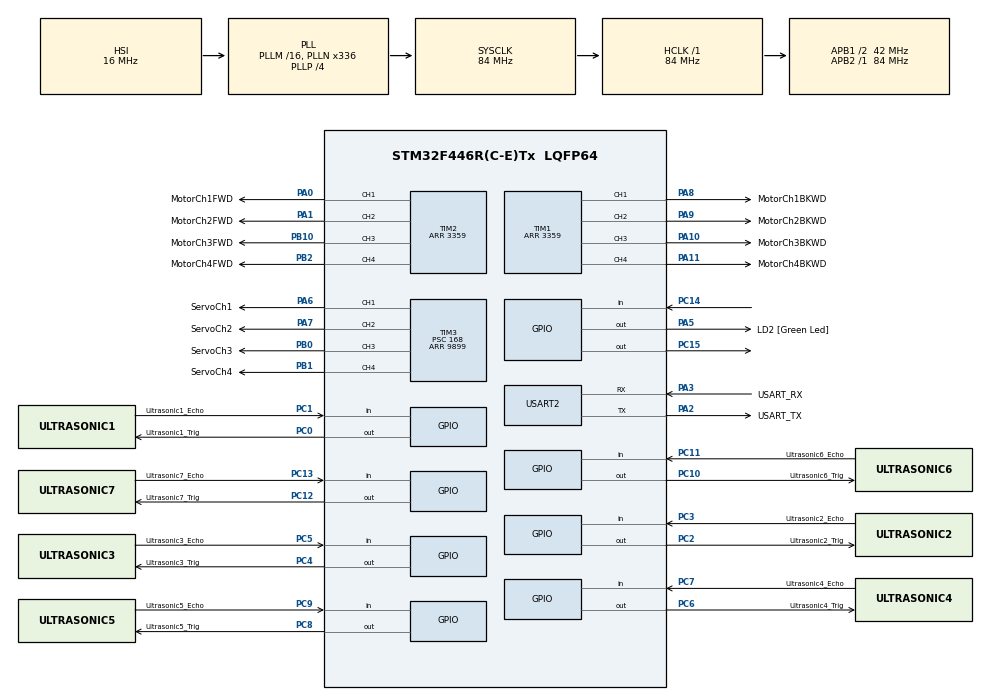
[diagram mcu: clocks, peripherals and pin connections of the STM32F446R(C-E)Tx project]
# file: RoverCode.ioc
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FREERTOS.Tasks01=defaultTask,24,128,StartDefaultTask,Default,NULL,Dynamic,NULL,NULL;ServoDrivers,8,128,StartServoDrivers,Default,NULL,Dynamic,NULL,NULL;Pathfinding,8,128,StartPathfinding,Default,NULL,Dynamic,NULL,NULL
FREERTOS.configGENERATE_RUN_TIME_STATS=1
FREERTOS.configRECORD_STACK_HIGH_ADDRESS=1
FREERTOS.configUSE_NEWLIB_REENTRANT=1
FREERTOS.configUSE_STATS_FORMATTING_FUNCTIONS=1
Mcu.Family=STM32F4
Mcu.Name=STM32F446R(C-E)Tx
Mcu.Package=LQFP64
NVIC.PriorityGroup=NVIC_PRIORITYGROUP_4
NVIC.TIM6_DAC_IRQn=true\:15\:0\:false\:false\:true\:false\:false\:true\:true
NVIC.TimeBase=TIM6_DAC_IRQn
NVIC.TimeBaseIP=TIM6
PA0-WKUP.GPIO_Label=MotorCh1FWD
PA0-WKUP.Signal=S_TIM2_CH1_ETR
PA1.GPIO_Label=MotorCh2FWD
PA1.Signal=S_TIM2_CH2
PA10.GPIO_Label=MotorCh3BKWD
PA10.Signal=S_TIM1_CH3
PA11.GPIO_Label=MotorCh4BKWD
PA11.GPIO_PuPd=GPIO_NOPULL
PA11.Signal=S_TIM1_CH4
PA13.GPIO_Label=TMS
PA13.Mode=Serial_Wire
PA13.Signal=SYS_JTMS-SWDIO
PA14.GPIO_Label=TCK
PA14.Mode=Serial_Wire
PA14.Signal=SYS_JTCK-SWCLK
PA2.GPIO_Label=USART_TX
PA2.Mode=Asynchronous
PA2.Signal=USART2_TX
PA3.GPIO_Label=USART_RX
PA3.Mode=Asynchronous
PA3.Signal=USART2_RX
PA5.GPIO_Label=LD2 [Green Led]
PA5.Signal=GPIO_Output
PA6.GPIO_Label=ServoCh1
PA6.Signal=S_TIM3_CH1
PA7.GPIO_Label=ServoCh2
PA7.Signal=S_TIM3_CH2
PA8.GPIO_Label=MotorCh1BKWD
PA8.Signal=S_TIM1_CH1
PA9.GPIO_Label=MotorCh2BKWD
PA9.Signal=S_TIM1_CH2
PB0.GPIO_Label=ServoCh3
PB0.Signal=S_TIM3_CH3
PB1.GPIO_Label=ServoCh4
PB1.Signal=S_TIM3_CH4
PB10.GPIO_Label=MotorCh3FWD
PB10.Signal=S_TIM2_CH3
PB2.GPIO_Label=MotorCh4FWD
PB2.Signal=S_TIM2_CH4
PB3.GPIO_Label=SWO
PB3.Signal=SYS_JTDO-SWO
PC0.GPIO_Label=Ultrasonic1_Trig
PC0.Signal=GPIO_Output
PC1.GPIO_Label=Ultrasonic1_Echo
PC1.Signal=GPIO_Input
PC10.GPIO_Label=Ultrasonic6_Trig
PC10.Signal=GPIO_Output
PC11.GPIO_Label=Ultrasonic6_Echo
PC11.Signal=GPIO_Input
PC12.GPIO_Label=Ultrasonic7_Trig
PC12.Signal=GPIO_Output
PC13.GPIO_Label=Ultrasonic7_Echo
PC13.Signal=GPIO_Input
PC14-OSC32_IN.Signal=GPIO_Input
PC15-OSC32_OUT.Signal=GPIO_Output
PC2.GPIO_Label=Ultrasonic2_Trig
PC2.Signal=GPIO_Output
PC3.GPIO_Label=Ultrasonic2_Echo
PC3.Signal=GPIO_Input
PC4.GPIO_Label=Ultrasonic3_Trig
PC4.Signal=GPIO_Output
PC5.GPIO_Label=Ultrasonic3_Echo
PC5.Signal=GPIO_Input
PC6.GPIO_Label=Ultrasonic4_Trig
PC6.Signal=GPIO_Output
PC7.GPIO_Label=Ultrasonic4_Echo
PC7.Signal=GPIO_Input
PC8.GPIO_Label=Ultrasonic5_Trig
PC8.Signal=GPIO_Output
PC9.GPIO_Label=Ultrasonic5_Echo
PC9.Signal=GPIO_Input
PH0-OSC_IN.Mode=HSE-External-Oscillator
PH0-OSC_IN.Signal=RCC_OSC_IN
PH1-OSC_OUT.Mode=HSE-External-Oscillator
PH1-OSC_OUT.Signal=RCC_OSC_OUT
ProjectManager.HeapSize=0x200
ProjectManager.StackSize=0x400
ProjectManager.TargetToolchain=STM32CubeIDE
RCC.48MHZClocksFreq_Value=84000000
RCC.AHBFreq_Value=84000000
RCC.APB1CLKDivider=RCC_HCLK_DIV2
RCC.APB1Freq_Value=42000000
RCC.APB1TimFreq_Value=84000000
RCC.APB2Freq_Value=84000000
RCC.APB2TimFreq_Value=84000000
RCC.CortexFreq_Value=84000000
RCC.FLatency-AdvancedSettings=FLASH_LATENCY_2
RCC.HCLKFreq_Value=84000000
RCC.HSE_VALUE=8000000
RCC.HSI_VALUE=16000000
RCC.PLLN=336
RCC.PLLP=RCC_PLLP_DIV4
RCC.SYSCLKFreq_VALUE=84000000
RCC.SYSCLKSource=RCC_SYSCLKSOURCE_PLLCLK
RCC.USBFreq_Value=168000000
RCC.VCOOutputFreq_Value=336000000
SH.S_TIM1_CH1.0=TIM1_CH1,PWM Generation1 CH1
SH.S_TIM1_CH2.0=TIM1_CH2,PWM Generation2 CH2
SH.S_TIM1_CH3.0=TIM1_CH3,PWM Generation3 CH3
SH.S_TIM1_CH4.0=TIM1_CH4,PWM Generation4 CH4
SH.S_TIM2_CH1_ETR.0=TIM2_CH1,PWM Generation1 CH1
SH.S_TIM2_CH2.0=TIM2_CH2,PWM Generation2 CH2
SH.S_TIM2_CH3.0=TIM2_CH3,PWM Generation3 CH3
SH.S_TIM2_CH4.0=TIM2_CH4,PWM Generation4 CH4
SH.S_TIM3_CH1.0=TIM3_CH1,PWM Generation1 CH1
SH.S_TIM3_CH2.0=TIM3_CH2,PWM Generation2 CH2
SH.S_TIM3_CH3.0=TIM3_CH3,PWM Generation3 CH3
SH.S_TIM3_CH4.0=TIM3_CH4,PWM Generation4 CH4
TIM1.Channel-PWM\ Generation1\ CH1=TIM_CHANNEL_1
TIM1.Channel-PWM\ Generation2\ CH2=TIM_CHANNEL_2
TIM1.Channel-PWM\ Generation3\ CH3=TIM_CHANNEL_3
TIM1.Channel-PWM\ Generation4\ CH4=TIM_CHANNEL_4
TIM1.Period=3359
TIM2.Channel-PWM\ Generation1\ CH1=TIM_CHANNEL_1
TIM2.Channel-PWM\ Generation2\ CH2=TIM_CHANNEL_2
TIM2.Channel-PWM\ Generation3\ CH3=TIM_CHANNEL_3
TIM2.Channel-PWM\ Generation4\ CH4=TIM_CHANNEL_4
TIM2.Period=3359
TIM2.Pulse-PWM\ Generation1\ CH1=0
TIM2.Pulse-PWM\ Generation2\ CH2=0
TIM2.Pulse-PWM\ Generation3\ CH3=0
TIM2.Pulse-PWM\ Generation4\ CH4=0
TIM3.AutoReloadPreload=TIM_AUTORELOAD_PRELOAD_ENABLE
TIM3.Channel-PWM\ Generation1\ CH1=TIM_CHANNEL_1
TIM3.Channel-PWM\ Generation2\ CH2=TIM_CHANNEL_2
TIM3.Channel-PWM\ Generation3\ CH3=TIM_CHANNEL_3
TIM3.Channel-PWM\ Generation4\ CH4=TIM_CHANNEL_4
TIM3.OCFastMode_PWM-PWM\ Generation2\ CH2=TIM_OCFAST_DISABLE
TIM3.Period=9899
TIM3.Prescaler=168
TIM3.Pulse-PWM\ Generation2\ CH2=0
TIM3.Pulse-PWM\ Generation3\ CH3=0
TIM3.Pulse-PWM\ Generation4\ CH4=1999
TIM5.AutoReloadPreload=TIM_AUTORELOAD_PRELOAD_ENABLE
TIM5.Period=10499
TIM5.Prescaler=7
USART2.VirtualMode=VM_ASYNC
VP_FREERTOS_VS_CMSIS_V2.Mode=CMSIS_V2
VP_SYS_VS_tim6.Mode=TIM6
VP_TIM1_VS_ClockSourceINT.Mode=Internal
VP_TIM2_VS_ClockSourceINT.Mode=Internal
VP_TIM3_VS_ClockSourceINT.Mode=Internal
VP_TIM5_VS_ClockSourceINT.Mode=Internal
board=NUCLEO-F446RE

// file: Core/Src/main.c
/* USER CODE BEGIN Header */
/**
  ******************************************************************************
  * @file           : main.c
  * @brief          : Main program body
  ******************************************************************************
  * @attention
  *
  * Copyright (c) 2024 STMicroelectronics.
  * All rights reserved.
  *
  * This software is licensed under terms that can be found in the LICENSE file
  * in the root directory of this software component.
  * If no LICENSE file comes with this software, it is provided AS-IS.
  *
  ******************************************************************************
  */
/* USER CODE END Header */
#include "main.h"
#include "cmsis_os.h"

/* USER CODE BEGIN Includes */
#include "servocontrol.h"
/* USER CODE END Includes */

TIM_HandleTypeDef htim1;
TIM_HandleTypeDef htim2;
TIM_HandleTypeDef htim3;
TIM_HandleTypeDef htim5;

UART_HandleTypeDef huart2;

/* Definitions for defaultTask */
osThreadId_t defaultTaskHandle;
const osThreadAttr_t defaultTask_attributes = {
  .name = "defaultTask",
  .stack_size = 128 * 4,
  .priority = (osPriority_t) osPriorityNormal,
};
/* Definitions for ServoDrivers */
osThreadId_t ServoDriversHandle;
const osThreadAttr_t ServoDrivers_attributes = {
  .name = "ServoDrivers",
  .stack_size = 128 * 4,
  .priority = (osPriority_t) osPriorityLow,
};
/* Definitions for Pathfinding */
osThreadId_t PathfindingHandle;
const osThreadAttr_t Pathfinding_attributes = {
  .name = "Pathfinding",
  .stack_size = 128 * 4,
  .priority = (osPriority_t) osPriorityLow,
};
/* USER CODE BEGIN PV */
int turnRadius = 3000; // Straight is anything greater than 2000

uint32_t pMillis;
uint32_t val1 = 0;
uint32_t val2 = 0;

float distanceFront;
float distanceBack;
float distanceRight;
float distanceLeft;
float distanceFrontDown;
float distanceBackDown;
float distanceLeftDown;
float distanceRightDown;

int pulse_durationFront = 0;
int pulse_durationBack = 0;
int pulse_durationLeft = 0;
int pulse_durationRight = 0;
int pulse_durationFrontDown = 0;
int pulse_durationBackDown = 0;
int pulse_durationLeftDown = 0;
int pulse_durationRightDown = 0;

/* USER CODE END PV */

void SystemClock_Config(void);
static void MX_GPIO_Init(void);
static void MX_USART2_UART_Init(void);
static void MX_TIM2_Init(void);
static void MX_TIM3_Init(void);
static void MX_TIM5_Init(void);
static void MX_TIM1_Init(void);
void StartDefaultTask(void *argument);
void StartServoDrivers(void *argument);
void StartPathfinding(void *argument);

/* USER CODE BEGIN PFP */
int map(int x, int in_min, int in_max, int out_min, int out_max)
{
    return (x - in_min) * (out_max - out_min) / (in_max - in_min) + out_min;
}

int abs(int x)
{
	if(x < 0)
		return -x;
	else
		return x;
}

void delay_us (uint16_t us)
{
	__HAL_TIM_SET_COUNTER(&htim5,0);  // set the counter value a 0
	while (__HAL_TIM_GET_COUNTER(&htim5) < us);  // wait for the counter to reach the us input in the parameter
}

/* USER CODE END PFP */

int main(void)
{

  /* MCU Configuration--------------------------------------------------------*/

  /* Reset of all peripherals, Initializes the Flash interface and the Systick. */
  HAL_Init();

  /* Configure the system clock */
  SystemClock_Config();

  /* Initialize all configured peripherals */
  MX_GPIO_Init();
  MX_USART2_UART_Init();
  MX_TIM2_Init();
  MX_TIM3_Init();
  MX_TIM5_Init();
  MX_TIM1_Init();
  /* USER CODE BEGIN 2 */

  HAL_TIM_PWM_Start(&htim1, TIM_CHANNEL_1);
  HAL_TIM_PWM_Start(&htim1, TIM_CHANNEL_2);
  HAL_TIM_PWM_Start(&htim1, TIM_CHANNEL_3);
  HAL_TIM_PWM_Start(&htim1, TIM_CHANNEL_4);

  HAL_TIM_PWM_Start(&htim2, TIM_CHANNEL_1);
  HAL_TIM_PWM_Start(&htim2, TIM_CHANNEL_2);
  HAL_TIM_PWM_Start(&htim2, TIM_CHANNEL_3);
  HAL_TIM_PWM_Start(&htim2, TIM_CHANNEL_4);

  HAL_TIM_PWM_Start(&htim3, TIM_CHANNEL_1);
  HAL_TIM_PWM_Start(&htim3, TIM_CHANNEL_2);
  HAL_TIM_PWM_Start(&htim3, TIM_CHANNEL_3);
  HAL_TIM_PWM_Start(&htim3, TIM_CHANNEL_4);

  /* USER CODE END 2 */

  /* Init scheduler */
  osKernelInitialize();

  /* Create the thread(s) */
  /* creation of defaultTask */
  defaultTaskHandle = osThreadNew(StartDefaultTask, NULL, &defaultTask_attributes);

  /* creation of ServoDrivers */
  ServoDriversHandle = osThreadNew(StartServoDrivers, NULL, &ServoDrivers_attributes);

  /* creation of Pathfinding */
  PathfindingHandle = osThreadNew(StartPathfinding, NULL, &Pathfinding_attributes);

  /* Start scheduler */
  osKernelStart();

  /* We should never get here as control is now taken by the scheduler */
  /* Infinite loop */
  while (1)
  {

  }
}

void SystemClock_Config(void)
{
  RCC_OscInitTypeDef RCC_OscInitStruct = {0};
  RCC_ClkInitTypeDef RCC_ClkInitStruct = {0};

  /** Configure the main internal regulator output voltage
  */
  __HAL_RCC_PWR_CLK_ENABLE();
  __HAL_PWR_VOLTAGESCALING_CONFIG(PWR_REGULATOR_VOLTAGE_SCALE3);

  /** Initializes the RCC Oscillators according to the specified parameters
  * in the RCC_OscInitTypeDef structure.
  */
  RCC_OscInitStruct.OscillatorType = RCC_OSCILLATORTYPE_HSI;
  RCC_OscInitStruct.HSIState = RCC_HSI_ON;
  RCC_OscInitStruct.HSICalibrationValue = RCC_HSICALIBRATION_DEFAULT;
  RCC_OscInitStruct.PLL.PLLState = RCC_PLL_ON;
  RCC_OscInitStruct.PLL.PLLSource = RCC_PLLSOURCE_HSI;
  RCC_OscInitStruct.PLL.PLLM = 16;
  RCC_OscInitStruct.PLL.PLLN = 336;
  RCC_OscInitStruct.PLL.PLLP = RCC_PLLP_DIV4;
  RCC_OscInitStruct.PLL.PLLQ = 2;
  RCC_OscInitStruct.PLL.PLLR = 2;
  if (HAL_RCC_OscConfig(&RCC_OscInitStruct) != HAL_OK)
  {
    Error_Handler();
  }

  /** Initializes the CPU, AHB and APB buses clocks
  */
  RCC_ClkInitStruct.ClockType = RCC_CLOCKTYPE_HCLK|RCC_CLOCKTYPE_SYSCLK
                              |RCC_CLOCKTYPE_PCLK1|RCC_CLOCKTYPE_PCLK2;
  RCC_ClkInitStruct.SYSCLKSource = RCC_SYSCLKSOURCE_PLLCLK;
  RCC_ClkInitStruct.AHBCLKDivider = RCC_SYSCLK_DIV1;
  RCC_ClkInitStruct.APB1CLKDivider = RCC_HCLK_DIV2;
  RCC_ClkInitStruct.APB2CLKDivider = RCC_HCLK_DIV1;

  if (HAL_RCC_ClockConfig(&RCC_ClkInitStruct, FLASH_LATENCY_2) != HAL_OK)
  {
    Error_Handler();
  }
}

static void MX_TIM1_Init(void)
{

  TIM_ClockConfigTypeDef sClockSourceConfig = {0};
  TIM_MasterConfigTypeDef sMasterConfig = {0};
  TIM_OC_InitTypeDef sConfigOC = {0};
  TIM_BreakDeadTimeConfigTypeDef sBreakDeadTimeConfig = {0};

  htim1.Instance = TIM1;
  htim1.Init.Prescaler = 0;
  htim1.Init.CounterMode = TIM_COUNTERMODE_UP;
  htim1.Init.Period = 3359;
  htim1.Init.ClockDivision = TIM_CLOCKDIVISION_DIV1;
  htim1.Init.RepetitionCounter = 0;
  htim1.Init.AutoReloadPreload = TIM_AUTORELOAD_PRELOAD_DISABLE;
  if (HAL_TIM_Base_Init(&htim1) != HAL_OK)
  {
    Error_Handler();
  }
  sClockSourceConfig.ClockSource = TIM_CLOCKSOURCE_INTERNAL;
  if (HAL_TIM_ConfigClockSource(&htim1, &sClockSourceConfig) != HAL_OK)
  {
    Error_Handler();
  }
  if (HAL_TIM_PWM_Init(&htim1) != HAL_OK)
  {
    Error_Handler();
  }
  sMasterConfig.MasterOutputTrigger = TIM_TRGO_RESET;
  sMasterConfig.MasterSlaveMode = TIM_MASTERSLAVEMODE_DISABLE;
  if (HAL_TIMEx_MasterConfigSynchronization(&htim1, &sMasterConfig) != HAL_OK)
  {
    Error_Handler();
  }
  sConfigOC.OCMode = TIM_OCMODE_PWM1;
  sConfigOC.Pulse = 0;
  sConfigOC.OCPolarity = TIM_OCPOLARITY_HIGH;
  sConfigOC.OCNPolarity = TIM_OCNPOLARITY_HIGH;
  sConfigOC.OCFastMode = TIM_OCFAST_DISABLE;
  sConfigOC.OCIdleState = TIM_OCIDLESTATE_RESET;
  sConfigOC.OCNIdleState = TIM_OCNIDLESTATE_RESET;
  if (HAL_TIM_PWM_ConfigChannel(&htim1, &sConfigOC, TIM_CHANNEL_1) != HAL_OK)
  {
    Error_Handler();
  }
  if (HAL_TIM_PWM_ConfigChannel(&htim1, &sConfigOC, TIM_CHANNEL_2) != HAL_OK)
  {
    Error_Handler();
  }
  if (HAL_TIM_PWM_ConfigChannel(&htim1, &sConfigOC, TIM_CHANNEL_3) != HAL_OK)
  {
    Error_Handler();
  }
  if (HAL_TIM_PWM_ConfigChannel(&htim1, &sConfigOC, TIM_CHANNEL_4) != HAL_OK)
  {
    Error_Handler();
  }
  sBreakDeadTimeConfig.OffStateRunMode = TIM_OSSR_DISABLE;
  sBreakDeadTimeConfig.OffStateIDLEMode = TIM_OSSI_DISABLE;
  sBreakDeadTimeConfig.LockLevel = TIM_LOCKLEVEL_OFF;
  sBreakDeadTimeConfig.DeadTime = 0;
  sBreakDeadTimeConfig.BreakState = TIM_BREAK_DISABLE;
  sBreakDeadTimeConfig.BreakPolarity = TIM_BREAKPOLARITY_HIGH;
  sBreakDeadTimeConfig.AutomaticOutput = TIM_AUTOMATICOUTPUT_DISABLE;
  if (HAL_TIMEx_ConfigBreakDeadTime(&htim1, &sBreakDeadTimeConfig) != HAL_OK)
  {
    Error_Handler();
  }
  HAL_TIM_MspPostInit(&htim1);

}

static void MX_TIM2_Init(void)
{

  TIM_ClockConfigTypeDef sClockSourceConfig = {0};
  TIM_MasterConfigTypeDef sMasterConfig = {0};
  TIM_OC_InitTypeDef sConfigOC = {0};

  htim2.Instance = TIM2;
  htim2.Init.Prescaler = 0;
  htim2.Init.CounterMode = TIM_COUNTERMODE_UP;
  htim2.Init.Period = 3359;
  htim2.Init.ClockDivision = TIM_CLOCKDIVISION_DIV1;
  htim2.Init.AutoReloadPreload = TIM_AUTORELOAD_PRELOAD_DISABLE;
  if (HAL_TIM_Base_Init(&htim2) != HAL_OK)
  {
    Error_Handler();
  }
  sClockSourceConfig.ClockSource = TIM_CLOCKSOURCE_INTERNAL;
  if (HAL_TIM_ConfigClockSource(&htim2, &sClockSourceConfig) != HAL_OK)
  {
    Error_Handler();
  }
  if (HAL_TIM_PWM_Init(&htim2) != HAL_OK)
  {
    Error_Handler();
  }
  sMasterConfig.MasterOutputTrigger = TIM_TRGO_RESET;
  sMasterConfig.MasterSlaveMode = TIM_MASTERSLAVEMODE_DISABLE;
  if (HAL_TIMEx_MasterConfigSynchronization(&htim2, &sMasterConfig) != HAL_OK)
  {
    Error_Handler();
  }
  sConfigOC.OCMode = TIM_OCMODE_PWM1;
  sConfigOC.Pulse = 0;
  sConfigOC.OCPolarity = TIM_OCPOLARITY_HIGH;
  sConfigOC.OCFastMode = TIM_OCFAST_DISABLE;
  if (HAL_TIM_PWM_ConfigChannel(&htim2, &sConfigOC, TIM_CHANNEL_1) != HAL_OK)
  {
    Error_Handler();
  }
  if (HAL_TIM_PWM_ConfigChannel(&htim2, &sConfigOC, TIM_CHANNEL_2) != HAL_OK)
  {
    Error_Handler();
  }
  if (HAL_TIM_PWM_ConfigChannel(&htim2, &sConfigOC, TIM_CHANNEL_3) != HAL_OK)
  {
    Error_Handler();
  }
  if (HAL_TIM_PWM_ConfigChannel(&htim2, &sConfigOC, TIM_CHANNEL_4) != HAL_OK)
  {
    Error_Handler();
  }
  HAL_TIM_MspPostInit(&htim2);

}

static void MX_TIM3_Init(void)
{

  TIM_ClockConfigTypeDef sClockSourceConfig = {0};
  TIM_MasterConfigTypeDef sMasterConfig = {0};
  TIM_OC_InitTypeDef sConfigOC = {0};

  htim3.Instance = TIM3;
  htim3.Init.Prescaler = 168;
  htim3.Init.CounterMode = TIM_COUNTERMODE_UP;
  htim3.Init.Period = 9899;
  htim3.Init.ClockDivision = TIM_CLOCKDIVISION_DIV1;
  htim3.Init.AutoReloadPreload = TIM_AUTORELOAD_PRELOAD_ENABLE;
  if (HAL_TIM_Base_Init(&htim3) != HAL_OK)
  {
    Error_Handler();
  }
  sClockSourceConfig.ClockSource = TIM_CLOCKSOURCE_INTERNAL;
  if (HAL_TIM_ConfigClockSource(&htim3, &sClockSourceConfig) != HAL_OK)
  {
    Error_Handler();
  }
  if (HAL_TIM_PWM_Init(&htim3) != HAL_OK)
  {
    Error_Handler();
  }
  sMasterConfig.MasterOutputTrigger = TIM_TRGO_RESET;
  sMasterConfig.MasterSlaveMode = TIM_MASTERSLAVEMODE_DISABLE;
  if (HAL_TIMEx_MasterConfigSynchronization(&htim3, &sMasterConfig) != HAL_OK)
  {
    Error_Handler();
  }
  sConfigOC.OCMode = TIM_OCMODE_PWM1;
  sConfigOC.Pulse = 0;
  sConfigOC.OCPolarity = TIM_OCPOLARITY_HIGH;
  sConfigOC.OCFastMode = TIM_OCFAST_DISABLE;
  if (HAL_TIM_PWM_ConfigChannel(&htim3, &sConfigOC, TIM_CHANNEL_1) != HAL_OK)
  {
    Error_Handler();
  }
  if (HAL_TIM_PWM_ConfigChannel(&htim3, &sConfigOC, TIM_CHANNEL_2) != HAL_OK)
  {
    Error_Handler();
  }
  if (HAL_TIM_PWM_ConfigChannel(&htim3, &sConfigOC, TIM_CHANNEL_3) != HAL_OK)
  {
    Error_Handler();
  }
  sConfigOC.Pulse = 1999;
  if (HAL_TIM_PWM_ConfigChannel(&htim3, &sConfigOC, TIM_CHANNEL_4) != HAL_OK)
  {
    Error_Handler();
  }
  HAL_TIM_MspPostInit(&htim3);

}

static void MX_TIM5_Init(void)
{

  TIM_ClockConfigTypeDef sClockSourceConfig = {0};
  TIM_MasterConfigTypeDef sMasterConfig = {0};

  htim5.Instance = TIM5;
  htim5.Init.Prescaler = 7;
  htim5.Init.CounterMode = TIM_COUNTERMODE_UP;
  htim5.Init.Period = 10499;
  htim5.Init.ClockDivision = TIM_CLOCKDIVISION_DIV1;
  htim5.Init.AutoReloadPreload = TIM_AUTORELOAD_PRELOAD_ENABLE;
  if (HAL_TIM_Base_Init(&htim5) != HAL_OK)
  {
    Error_Handler();
  }
  sClockSourceConfig.ClockSource = TIM_CLOCKSOURCE_INTERNAL;
  if (HAL_TIM_ConfigClockSource(&htim5, &sClockSourceConfig) != HAL_OK)
  {
    Error_Handler();
  }
  sMasterConfig.MasterOutputTrigger = TIM_TRGO_RESET;
  sMasterConfig.MasterSlaveMode = TIM_MASTERSLAVEMODE_DISABLE;
  if (HAL_TIMEx_MasterConfigSynchronization(&htim5, &sMasterConfig) != HAL_OK)
  {
    Error_Handler();
  }
  /* USER CODE BEGIN TIM5_Init 2 */
  HAL_TIM_Base_Start(&htim5);
  /* USER CODE END TIM5_Init 2 */

}

static void MX_USART2_UART_Init(void)
{

  huart2.Instance = USART2;
  huart2.Init.BaudRate = 115200;
  huart2.Init.WordLength = UART_WORDLENGTH_8B;
  huart2.Init.StopBits = UART_STOPBITS_1;
  huart2.Init.Parity = UART_PARITY_NONE;
  huart2.Init.Mode = UART_MODE_TX_RX;
  huart2.Init.HwFlowCtl = UART_HWCONTROL_NONE;
  huart2.Init.OverSampling = UART_OVERSAMPLING_16;
  if (HAL_UART_Init(&huart2) != HAL_OK)
  {
    Error_Handler();
  }

}

static void MX_GPIO_Init(void)
{
  GPIO_InitTypeDef GPIO_InitStruct = {0};

  /* GPIO Ports Clock Enable */
  __HAL_RCC_GPIOC_CLK_ENABLE();
  __HAL_RCC_GPIOH_CLK_ENABLE();
  __HAL_RCC_GPIOA_CLK_ENABLE();
  __HAL_RCC_GPIOB_CLK_ENABLE();

  /*Configure GPIO pin Output Level */
  HAL_GPIO_WritePin(GPIOC, GPIO_PIN_15|Ultrasonic1_Trig_Pin|Ultrasonic2_Trig_Pin|Ultrasonic3_Trig_Pin
                          |Ultrasonic4_Trig_Pin|Ultrasonic5_Trig_Pin|Ultrasonic6_Trig_Pin|Ultrasonic7_Trig_Pin, GPIO_PIN_RESET);

  /*Configure GPIO pin Output Level */
  HAL_GPIO_WritePin(LD2_GPIO_Port, LD2_Pin, GPIO_PIN_RESET);

  /*Configure GPIO pins : Ultrasonic7_Echo_Pin PC14 Ultrasonic1_Echo_Pin Ultrasonic2_Echo_Pin
                           Ultrasonic3_Echo_Pin Ultrasonic4_Echo_Pin Ultrasonic5_Echo_Pin Ultrasonic6_Echo_Pin */
  GPIO_InitStruct.Pin = Ultrasonic7_Echo_Pin|GPIO_PIN_14|Ultrasonic1_Echo_Pin|Ultrasonic2_Echo_Pin
                          |Ultrasonic3_Echo_Pin|Ultrasonic4_Echo_Pin|Ultrasonic5_Echo_Pin|Ultrasonic6_Echo_Pin;
  GPIO_InitStruct.Mode = GPIO_MODE_INPUT;
  GPIO_InitStruct.Pull = GPIO_NOPULL;
  HAL_GPIO_Init(GPIOC, &GPIO_InitStruct);

  /*Configure GPIO pins : PC15 Ultrasonic1_Trig_Pin Ultrasonic2_Trig_Pin Ultrasonic3_Trig_Pin
                           Ultrasonic4_Trig_Pin Ultrasonic5_Trig_Pin Ultrasonic6_Trig_Pin Ultrasonic7_Trig_Pin */
  GPIO_InitStruct.Pin = GPIO_PIN_15|Ultrasonic1_Trig_Pin|Ultrasonic2_Trig_Pin|Ultrasonic3_Trig_Pin
                          |Ultrasonic4_Trig_Pin|Ultrasonic5_Trig_Pin|Ultrasonic6_Trig_Pin|Ultrasonic7_Trig_Pin;
  GPIO_InitStruct.Mode = GPIO_MODE_OUTPUT_PP;
  GPIO_InitStruct.Pull = GPIO_NOPULL;
  GPIO_InitStruct.Speed = GPIO_SPEED_FREQ_LOW;
  HAL_GPIO_Init(GPIOC, &GPIO_InitStruct);

  /*Configure GPIO pin : LD2_Pin */
  GPIO_InitStruct.Pin = LD2_Pin;
  GPIO_InitStruct.Mode = GPIO_MODE_OUTPUT_PP;
  GPIO_InitStruct.Pull = GPIO_NOPULL;
  GPIO_InitStruct.Speed = GPIO_SPEED_FREQ_LOW;
  HAL_GPIO_Init(LD2_GPIO_Port, &GPIO_InitStruct);

}

/* USER CODE BEGIN 4 */

void fireSensors( void )
{
	/**Front**/
	/*
	HAL_GPIO_WritePin(GPIOC, GPIO_PIN_0, GPIO_PIN_SET);
	__HAL_TIM_SET_COUNTER(&htim5, 0);
	delay_us(10);
	HAL_GPIO_WritePin(GPIOC, GPIO_PIN_0, GPIO_PIN_RESET);

	pMillis = HAL_GetTick();
	while(!(HAL_GPIO_ReadPin(GPIOC, GPIO_PIN_1)) && pMillis +10 > HAL_GetTick());
	val1 = __HAL_TIM_GET_COUNTER(&htim5);

	pMillis = HAL_GetTick();
	while ((HAL_GPIO_ReadPin (GPIOC, GPIO_PIN_1)) && pMillis + 50 > HAL_GetTick());
	val2 = __HAL_TIM_GET_COUNTER(&htim5);
	int pulse_durationFront = 0;
	pulse_durationFront = (val2-val1);
	*/
	HAL_GPIO_WritePin(GPIOC, TRIG_PIN1, GPIO_PIN_SET);
	__HAL_TIM_SET_COUNTER(&htim5, 0);
	delay_us(10);
	HAL_GPIO_WritePin(GPIOC, TRIG_PIN1, GPIO_PIN_RESET);

	pMillis = HAL_GetTick();
	while(!(HAL_GPIO_ReadPin(GPIOC, ECHO_PIN1)) && pMillis +10 > HAL_GetTick());
	val1 = __HAL_TIM_GET_COUNTER(&htim5);

	pMillis = HAL_GetTick();
	while((HAL_GPIO_ReadPin(GPIOC, ECHO_PIN1)) && pMillis + 50 > HAL_GetTick());
	val2 = __HAL_TIM_GET_COUNTER(&htim5);

	pulse_durationFront = (val2 - val1);
	osDelay(1);

	/**Back**/
	HAL_GPIO_WritePin(GPIOC, TRIG_PIN2, GPIO_PIN_SET);
	__HAL_TIM_SET_COUNTER(&htim5, 0);
	delay_us(10);
	HAL_GPIO_WritePin(GPIOC, TRIG_PIN2, GPIO_PIN_RESET);

	pMillis = HAL_GetTick();
	while(!(HAL_GPIO_ReadPin(GPIOC, ECHO_PIN2)) && pMillis +10 > HAL_GetTick());
	val1 = __HAL_TIM_GET_COUNTER(&htim5);

	pMillis = HAL_GetTick();
	while((HAL_GPIO_ReadPin(GPIOC, ECHO_PIN2)) && pMillis + 50 > HAL_GetTick());
	val2 = __HAL_TIM_GET_COUNTER(&htim5);

	pulse_durationBack = (val2 - val1);
	osDelay(1);

	/**Left**/
	/*
	HAL_GPIO_WritePin(GPIOC, TRIG_PIN3, GPIO_PIN_SET);
	__HAL_TIM_SET_COUNTER(&htim5, 0);
	delay_us(10);
	HAL_GPIO_WritePin(GPIOC, TRIG_PIN3, GPIO_PIN_RESET);

	pMillis = HAL_GetTick();
	while(!(HAL_GPIO_ReadPin(GPIOC, ECHO_PIN3)) && pMillis +10 > HAL_GetTick());
	__HAL_TIM_SET_COUNTER(&htim5, 0);

	pMillis = HAL_GetTick();
	while((HAL_GPIO_ReadPin(GPIOC, ECHO_PIN3)) && pMillis + 50 > HAL_GetTick());
	uint32_t pulse_durationLeft = __HAL_TIM_GET_COUNTER(&htim5);
	osDelay(1);
	*/

	/**Right**/
	/*
	HAL_GPIO_WritePin(GPIOC, TRIG_PIN4, GPIO_PIN_SET);
	__HAL_TIM_SET_COUNTER(&htim5, 0);
	delay_us(10);
	HAL_GPIO_WritePin(GPIOC, TRIG_PIN4, GPIO_PIN_RESET);

	pMillis = HAL_GetTick();
	while(!(HAL_GPIO_ReadPin(GPIOC, ECHO_PIN4)) && pMillis +10 > HAL_GetTick());
	__HAL_TIM_SET_COUNTER(&htim5, 0);

	pMillis = HAL_GetTick();
	while((HAL_GPIO_ReadPin(GPIOC, ECHO_PIN4)) && pMillis + 50 > HAL_GetTick());
	uint32_t pulse_durationRight = __HAL_TIM_GET_COUNTER(&htim5);
	osDelay(1);
	*/

	/**Front Down**/
	/*
	HAL_GPIO_WritePin(GPIOC, TRIG_PIN5, GPIO_PIN_SET);
	__HAL_TIM_SET_COUNTER(&htim5, 0);
	delay_us(10);
	HAL_GPIO_WritePin(GPIOC, TRIG_PIN5, GPIO_PIN_RESET);

	pMillis = HAL_GetTick();
	while(!(HAL_GPIO_ReadPin(GPIOC, ECHO_PIN5)) && pMillis +10 > HAL_GetTick());
	__HAL_TIM_SET_COUNTER(&htim5, 0);

	pMillis = HAL_GetTick();
	while((HAL_GPIO_ReadPin(GPIOC, ECHO_PIN5)) && pMillis + 50 > HAL_GetTick());
	uint32_t pulse_durationFrontDown = __HAL_TIM_GET_COUNTER(&htim5);
	osDelay(1);
	*/

	/**Back Down**/
	/*
	HAL_GPIO_WritePin(GPIOC, TRIG_PIN6, GPIO_PIN_SET);
	__HAL_TIM_SET_COUNTER(&htim5, 0);
	delay_us(10);
	HAL_GPIO_WritePin(GPIOC, TRIG_PIN6, GPIO_PIN_RESET);

	pMillis = HAL_GetTick();
	while(!(HAL_GPIO_ReadPin(GPIOC, ECHO_PIN6)) && pMillis +10 > HAL_GetTick());
	__HAL_TIM_SET_COUNTER(&htim5, 0);

	pMillis = HAL_GetTick();
	while((HAL_GPIO_ReadPin(GPIOC, ECHO_PIN6)) && pMillis + 50 > HAL_GetTick());
	uint32_t pulse_durationBackDown = __HAL_TIM_GET_COUNTER(&htim5);
	osDelay(1);
	*/

	/**Left Down**/
	/*
	HAL_GPIO_WritePin(GPIOC, TRIG_PIN7, GPIO_PIN_SET);
	__HAL_TIM_SET_COUNTER(&htim5, 0);
	delay_us(10);
	HAL_GPIO_WritePin(GPIOC, TRIG_PIN7, GPIO_PIN_RESET);

	pMillis = HAL_GetTick();
	while(!(HAL_GPIO_ReadPin(GPIOC, ECHO_PIN7)) && pMillis +10 > HAL_GetTick());
	__HAL_TIM_SET_COUNTER(&htim5, 0);

	pMillis = HAL_GetTick();
	while((HAL_GPIO_ReadPin(GPIOC, ECHO_PIN7)) && pMillis + 50 > HAL_GetTick());
	uint32_t pulse_durationLeftDown = __HAL_TIM_GET_COUNTER(&htim5);
	osDelay(1);
	/*

	/**Right Down**/
	/*
	HAL_GPIO_WritePin(GPIOC, TRIG_PIN8, GPIO_PIN_SET);
	__HAL_TIM_SET_COUNTER(&htim5, 0);
	delay_us(10);
	HAL_GPIO_WritePin(GPIOC, TRIG_PIN8, GPIO_PIN_RESET);

	pMillis = HAL_GetTick();
	while(!(HAL_GPIO_ReadPin(GPIOC, ECHO_PIN8)) && pMillis +10 > HAL_GetTick());
	__HAL_TIM_SET_COUNTER(&htim5, 0);

	pMillis = HAL_GetTick();
	while((HAL_GPIO_ReadPin(GPIOC, ECHO_PIN8)) && pMillis + 50 > HAL_GetTick());
	uint32_t pulse_durationRightDown = __HAL_TIM_GET_COUNTER(&htim5);
	osDelay(1);
	*/

	calculateDistance(pulse_durationFront,pulse_durationBack,pulse_durationLeft,pulse_durationRight );
	calculateDistanceDown(pulse_durationFrontDown,pulse_durationBackDown,pulse_durationLeftDown,pulse_durationRightDown);

	osDelay(1);

}

void calculateDistance(int pulse_durationFront, int pulse_durationBack, int pulse_durationLeft, int pulse_durationRight)
{

    // Calculate distance based on pulse duration
    // Distance = (pulse duration * speed of sound) / 2
    // Convert distance to inches by Distance * (1/2.54)
    distanceFront = ((pulse_durationFront * SOUND_SPEED_CM_PER_US) / 2.0) * (1/2.54);
    distanceBack = ((pulse_durationBack * SOUND_SPEED_CM_PER_US) / 2.0) * (1/2.54);
    distanceLeft = ((pulse_durationLeft * SOUND_SPEED_CM_PER_US) / 2.0) * (1/2.54);
    distanceRight = ((pulse_durationRight * SOUND_SPEED_CM_PER_US) / 2.0) * (1/2.54);

}

void calculateDistanceDown(int pulse_durationFrontDown,int pulse_durationBackDown,int pulse_durationLeftDown,int pulse_durationRightDown)
{
    distanceFrontDown = ((pulse_durationFrontDown * SOUND_SPEED_CM_PER_US) / 2.0) * (1/2.54);
    distanceBackDown = ((pulse_durationBackDown * SOUND_SPEED_CM_PER_US) / 2.0) * (1/2.54);
    distanceLeftDown = ((pulse_durationLeftDown * SOUND_SPEED_CM_PER_US) / 2.0) * (1/2.54);
    distanceRightDown = ((pulse_durationRightDown * SOUND_SPEED_CM_PER_US) / 2.0) * (1/2.54);
}

void navigateObject()
{
    bool doNotBackUp = (distanceBack < MIN_DISTANCE);
    bool doNotTurnLeft = (distanceLeft < MIN_DISTANCE);
    bool doNotTurnRight = (distanceRight < MIN_DISTANCE);
    bool DropRight = (distanceRightDown > STAN_FLOOR_DISTANCE);
    bool DropLeft = (distanceLeftDown > STAN_FLOOR_DISTANCE);
    bool DropBack = (distanceBackDown > STAN_FLOOR_DISTANCE);

    if (!doNotTurnRight && !DropRight)
    {
        // Turn right
        // Code to turn right...
    	driveServos( 500 );
    	osDelay(500);
        fireSensors();
        if(distanceFront <= MIN_DISTANCE || distanceFrontDown > STAN_FLOOR_DISTANCE)
        {
            navigateObject();

        }
    }
    else if (doNotTurnRight && !doNotTurnLeft || DropRight && !doNotTurnLeft)
    {
        // Turn left
        // Code to turn left...
    	driveServos( -500 );
    	osDelay(500);
    	fireSensors();
        if(distanceFront <= MIN_DISTANCE || distanceFrontDown > STAN_FLOOR_DISTANCE)
        {
            navigateObject();
        }
    }
    else if ((doNotTurnRight || DropRight) && (doNotTurnLeft || DropLeft) && !doNotBackUp)
    {
        // Backup
        // Code to backup...
    	driveServos( 1 );
    	osDelay(500);
    	fireSensors();
        if(distanceFront <= MIN_DISTANCE || distanceFrontDown > STAN_FLOOR_DISTANCE)
        {
            navigateObject();
        }
    }
    else
    {
    	driveServos(-2500 );
    	osDelay(500);
       //osDelay(10000);
    }

}

void standardTravel( void )
{
        fireSensors();
        if (distanceFront <= MIN_DISTANCE)
        {
        	navigateObject(distanceLeft, distanceRight, distanceFront, distanceBack);
		}
        else
        {
        	driveServos(-2500 );
        }
}

/* USER CODE END 4 */

void StartDefaultTask(void *argument)
{
  /* USER CODE BEGIN 5 */
  /* Infinite loop */
  for(;;)
  {
 	HAL_GPIO_TogglePin(GPIOA, GPIO_PIN_5);
	osDelay(500);
  }
  /* USER CODE END 5 */
}

void StartServoDrivers(void *argument)
{
  /* USER CODE BEGIN StartServoDrivers */
  /* Infinite loop */
  for(;;)
  {
	  /*
	 HAL_ADC_Start(&hadc1);
	 HAL_ADC_PollForConversion(&hadc1, 1);
	 leftrightJoystick = HAL_ADC_GetValue(&hadc1);
	 osDelay(1);

	 HAL_ADC_Start(&hadc1);
	 HAL_ADC_PollForConversion(&hadc1, 1);
	 forwardbackJoystick = HAL_ADC_GetValue(&hadc1);
	 osDelay(1);

	 if( leftrightJoystick < 2000)
	 {
		 leftrightVal = map(leftrightJoystick, 0, 2000, -1, -2000);
	 }
	 else if ( leftrightJoystick > 3000 )
	 {
		 leftrightVal = map(leftrightJoystick, 3000, 4800, -1, 2000);
	 }

	 if (forwardbackJoystick > 3000 ) forwardbackVal = 1;
	 else forwardbackVal = 2;

	  driveServos( leftrightVal, forwardbackVal );
	  */

	  /*
	  for(int i = -2500; i<-500; i+=100)
	  {
		  driveServos( i );
		  osDelay(50);
	  }
	  for(int i = -500; i<0; i+=10)
	  	  {
	  		  driveServos( i );
	  		  osDelay(50);
	  	  }
	  osDelay(1000);
	  for(int i = 0; i<500; i+=10)
	  	  	  {
	  	  		  driveServos( i );
	  	  		  osDelay(50);
	  	  	  }
	  for(int i = 500; i<2500; i+=100)
	  {
		  driveServos( i );
		  osDelay(50);
	  }

	  for(int i = 2500; i>500; i-=100)
	  {
		  driveServos( i );
		  osDelay(50);
	  }
	  for(int i = 500; i>-500; i-=10)
	  	  {
	  		  driveServos( i );
	  		  osDelay(50);
	  	  }
	  for(int i = -500; i>-2500; i-=100)
	  {
		  driveServos( i );
		  osDelay(50);
	  }
	  */

	  //driveServos( -2500, 1 );
	  osDelay(1000);
  }
  /* USER CODE END StartServoDrivers */
}

void StartPathfinding(void *argument)
{
  /* USER CODE BEGIN StartPathfinding */
  /* Infinite loop */
  for(;;)
  {
	  standardTravel();
	  osDelay(1);
  }
  /* USER CODE END StartPathfinding */
}

void HAL_TIM_PeriodElapsedCallback(TIM_HandleTypeDef *htim)
{
  if (htim->Instance == TIM6) {
    HAL_IncTick();
  }
}

void Error_Handler(void)
{
  __disable_irq();
  while (1)
  {
  }
}
